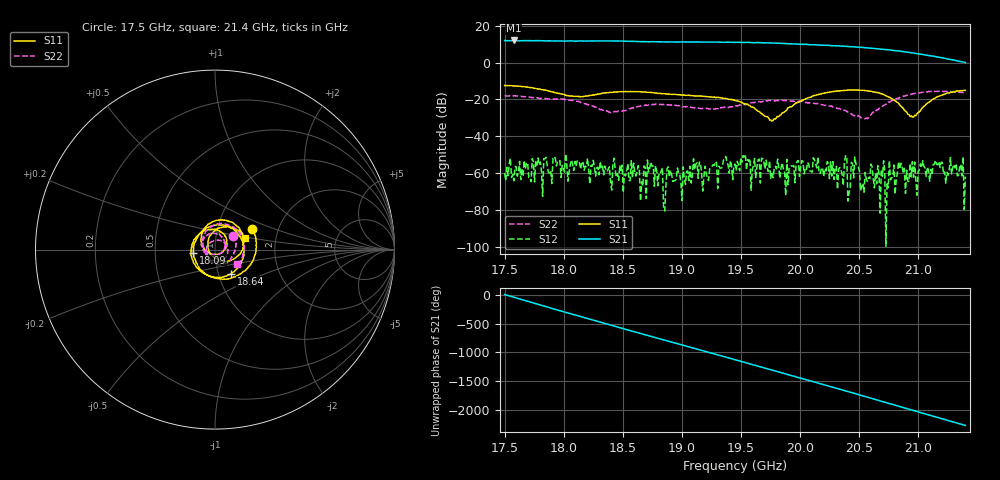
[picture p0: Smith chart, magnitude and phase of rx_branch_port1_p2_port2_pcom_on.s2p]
!Created with skrf (http://scikit-rf.org).
# GHz S RI R 50.0
!freq ReS11 ImS11 ReS21 ImS21 ReS12 ImS12 ReS22 ImS22
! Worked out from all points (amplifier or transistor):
!   401 points, 17.5 GHz to 21.4 GHz, reference 50 ohm
!   highest |S21| = 12.0 dB at 17.58 GHz (marker M1)
!   |S21| within 3 dB of that: start of sweep to 20.34 GHz
!   unconditionally stable (mu >= 1): start of sweep to end of sweep
!   at 18.14 GHz: K = 98.89, MAG = 11.8 dB, |S12| = -57.9 dB
!   at 19.45 GHz: K = 79.35, MAG = 11.0 dB, |S12| = -55.1 dB
!   at 21.4 GHz: K = 590.60, MAG = 0.2 dB, |S12| = -61.9 dB
!   S11 on the Smith chart (normalised r, x): 17.5 GHz: 1.47, +0.36; 18.09 GHz: 0.79, -0.03; 18.64 GHz: 1.15, -0.32; 21.4 GHz: 1.38, +0.18
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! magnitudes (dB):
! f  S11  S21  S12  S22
! 17.5 GHz  -12.5  12.0  -59.9  -18.0
! 17.58 GHz  -12.6  12.0  -64.1  -18.0
! 18.09 GHz  -18.3  11.6  -58.6  -20.4
! 18.15 GHz  -18.5  11.7  -54.3  -21.9
! 18.64 GHz  -15.8  11.3  -58.5  -23.7
! 18.73 GHz  -16.2  11.3  -57.2  -22.7
! 18.81 GHz  -16.7  11.2  -60.3  -22.8
! 18.85 GHz  -16.9  11.2  -78.6  -22.9
! 18.89 GHz  -17.2  11.2  -62.1  -23.1
! 19.01 GHz  -17.7  11.2  -56.6  -24.0
! 19.11 GHz  -18.1  11.2  -58.1  -24.6
! 19.45 GHz  -20.7  11.0  -55.1  -23.5
! 19.52 GHz  -22.0  10.9  -50.5  -22.7
! 19.76 GHz  -31.7  10.6  -59.2  -20.7
! 20.1 GHz  -18.4  9.7  -59.5  -22.0
! 20.38 GHz  -15.2  8.8  -54.0  -26.0
! 20.43 GHz  -14.9  8.7  -67.7  -27.3
! 20.48 GHz  -14.8  8.4  -55.6  -29.2
! 20.55 GHz  -15.2  8.1  -59.6  -30.6
! 20.76 GHz  -18.8  6.9  -53.2  -21.7
! 20.95 GHz  -29.6  5.2  -53.8  -17.1
! 21.4 GHz  -15.1  0.0  -61.9  -16.5
